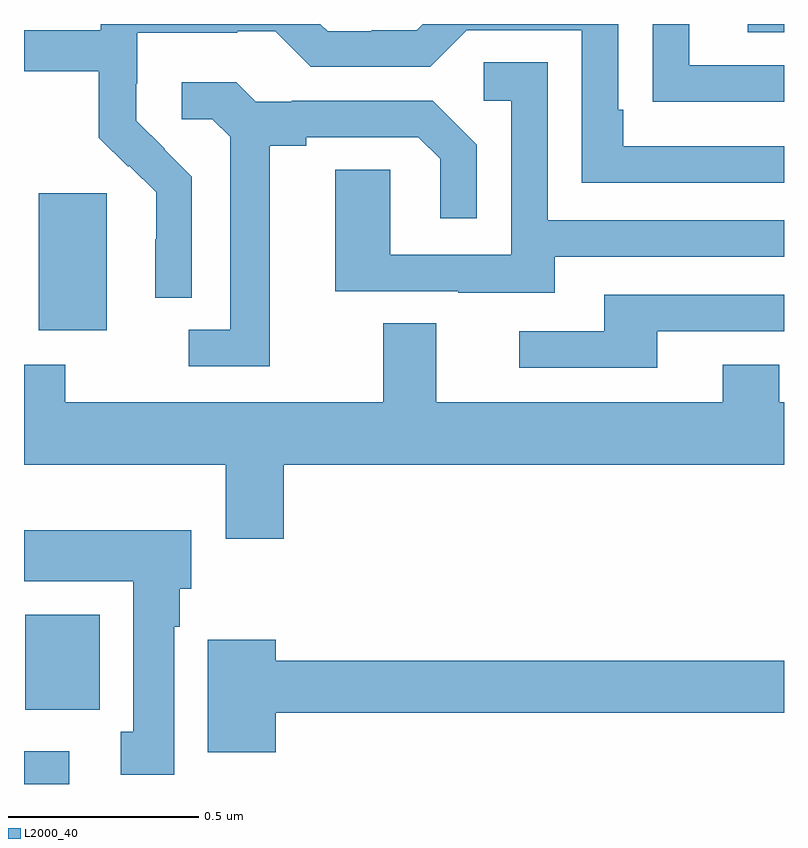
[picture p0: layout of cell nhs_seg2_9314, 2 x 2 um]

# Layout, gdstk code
import gdstk
lib = gdstk.Library(unit=1e-6, precision=1e-09)
def R(c, l, rs):  # rectangles x0, y0, x1, y1
    for r in rs: c.add(gdstk.rectangle(r[:2], r[2:], *l))
def P(c, l, *ps):  # polygons
    for p in ps: c.add(gdstk.Polygon(p, *l))
L2000_40 = (2000, 40)

nhs_seg2_9314 = lib.new_cell('nhs_seg2_9314')
R(nhs_seg2_9314, L2000_40, [(227,642.8,227.119,642.886), (227.003,642.996,227.199,643.246), (227.039,643.994,227.218,644.355), (228.905,644.778,229,644.8)])
P(nhs_seg2_9314, L2000_40, [(229,644.691),(228.751,644.691),(228.751,644.8),(228.655,644.8),(228.655,644.596),(228.757,644.596),(228.757,644.595),(229,644.595)],
  [(227.442,644.398),(227.369,644.471),(227.37,644.472),(227.296,644.546),(227.296,644.643),(227.298,644.643),(227.298,644.777),(227.561,644.777),(227.561,644.781),(227.661,644.781),(227.754,644.688),(228.069,644.688),(228.165,644.784),(228.468,644.784),(228.468,644.382),(229,644.382),(229,644.478),(228.577,644.478),(228.577,644.575),(228.564,644.575),(228.564,644.8),(228.049,644.8),(228.033,644.784),(227.915,644.784),(227.915,644.781),(227.799,644.781),(227.78,644.8),(227.202,644.8),(227.202,644.784),(227,644.784),(227,644.676),(227.197,644.676),(227.197,644.501),(227.274,644.424),(227.277,644.427),(227.348,644.357),(227.348,644.234),(227.346,644.234),(227.346,644.08),(227.442,644.08)],
  [(228.397,644.187),(229,644.187),(229,644.283),(228.378,644.283),(228.378,644.699),(228.21,644.699),(228.21,644.598),(228.282,644.598),(228.282,644.193),(227.964,644.193),(227.964,644.417),(227.819,644.417),(227.819,644.097),(228.143,644.097),(228.143,644.093),(228.397,644.093)],
  [(227.647,644.48),(227.743,644.48),(227.743,644.502),(228.038,644.502),(228.095,644.445),(228.095,644.289),(228.192,644.289),(228.192,644.482),(228.076,644.598),(227.704,644.598),(227.704,644.595),(227.61,644.595),(227.558,644.647),(227.415,644.647),(227.415,644.55),(227.496,644.55),(227.543,644.503),(227.543,643.995),(227.433,643.995),(227.433,643.899),(227.647,643.899)],
  [(228.667,643.992),(229,643.992),(229,644.088),(228.527,644.088),(228.527,643.992),(228.303,643.992),(228.303,643.896),(228.667,643.896)],
  [(227.684,643.64),(229,643.64),(229,643.804),(228.987,643.804),(228.987,643.903),(228.839,643.903),(228.839,643.804),(228.085,643.804),(228.085,644.012),(227.945,644.012),(227.945,643.804),(227.109,643.804),(227.109,643.903),(227,643.903),(227,643.64),(227.531,643.64),(227.531,643.446),(227.684,643.446)],
  [(227.395,643.214),(227.41,643.214),(227.41,643.314),(227.44,643.314),(227.44,643.468),(227,643.468),(227,643.334),(227.288,643.334),(227.288,642.937),(227.255,642.937),(227.255,642.825),(227.395,642.825)],
  [(227.662,642.988),(229,642.988),(229,643.124),(227.662,643.124),(227.662,643.18),(227.483,643.18),(227.483,642.884),(227.662,642.884)])

lib.write_gds('nhs_seg2_9314.gds')
